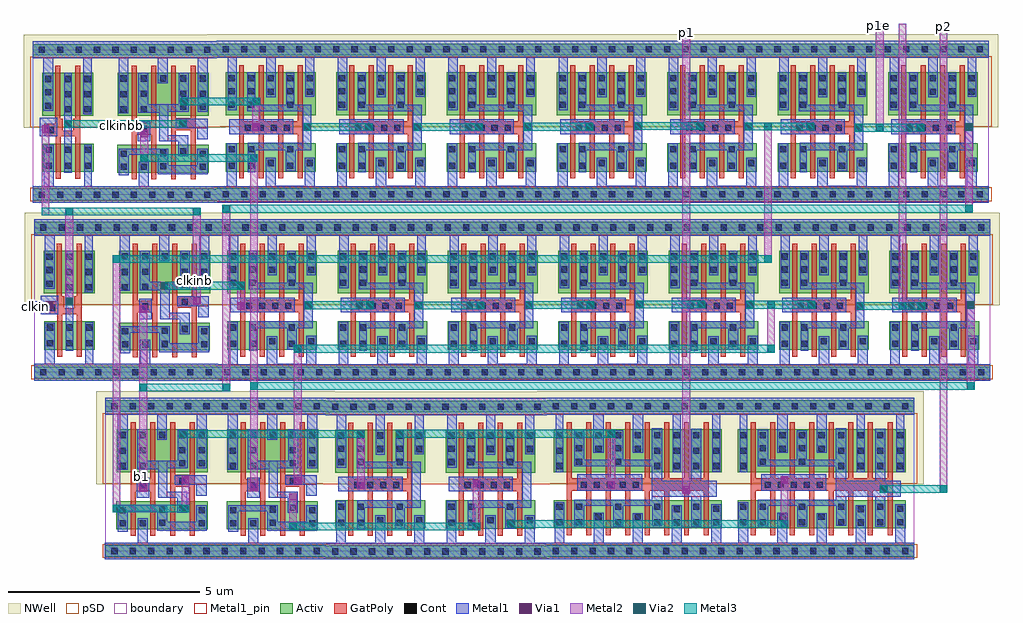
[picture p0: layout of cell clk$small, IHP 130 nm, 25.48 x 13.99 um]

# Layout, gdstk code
import gdstk
lib = gdstk.Library(unit=1e-6, precision=1e-09)
def R(c, l, rs):  # rectangles x0, y0, x1, y1
    for r in rs: c.add(gdstk.rectangle(r[:2], r[2:], *l))
def A(c, l, x, y, w, h, nx, ny, dx, dy):  # array of equal rectangles
    R(c, l, [(x+i*dx, y+j*dy, x+i*dx+w, y+j*dy+h) for i in range(nx) for j in range(ny)])
def P(c, l, *ps):  # polygons
    for p in ps: c.add(gdstk.Polygon(p, *l))
Activ = (1, 0)
GatPoly = (5, 0)
Cont = (6, 0)
Metal1 = (8, 0)
Metal1_pin = (8, 2)
Metal2 = (10, 0)
pSD = (14, 0)
Via1 = (19, 0)
Via2 = (29, 0)
Metal3 = (30, 0)
NWell = (31, 0)
boundary = (189, 4)

sg13g2_inv_2 = lib.new_cell('sg13g2_inv_2')
R(sg13g2_inv_2, Activ, [(0,-0.15,1.92,0.15), (0.265,0.59,1.59,1.33), (0.255,2.06,1.58,3.18), (0,3.63,1.92,3.93)])
P(sg13g2_inv_2, GatPoly, [(0.605,0.41),(0.605,1.52),(0.305,1.52),(0.305,1.85),(0.595,1.85),(0.595,3.36),(0.725,3.36),(0.725,1.985),(0.785,1.985),(0.785,1.67),(1.055,1.67),(1.055,1.985),(1.11,1.985),(1.11,3.36),(1.24,3.36),(1.24,1.585),(1.245,1.585),(1.245,0.41),(1.115,0.41),(1.115,1.52),(0.735,1.52),(0.735,0.41)])
A(sg13g2_inv_2, Cont, 0.84, 2.145, 0.16, 0.16, 1, 3, 0, 0.395)
A(sg13g2_inv_2, Cont, 1.35, 2.145, 0.16, 0.16, 1, 3, 0, 0.395)
R(sg13g2_inv_2, Cont, [(0.16,-0.08,0.32,0.08), (0.16,-0.08,0.32,0.08), (0.64,-0.08,0.8,0.08), (0.64,-0.08,0.8,0.08), (1.12,-0.08,1.28,0.08), (1.12,-0.08,1.28,0.08), (1.6,-0.08,1.76,0.08), (1.6,-0.08,1.76,0.08), (0.335,0.675,0.495,0.835), (0.845,0.675,1.005,0.835), (1.36,0.675,1.52,0.835), (0.335,1.09,0.495,1.25), (0.845,1.09,1.005,1.25), (1.36,1.09,1.52,1.25), (0.39,1.605,0.55,1.765), (0.325,2.235,0.485,2.395), (0.325,2.59,0.485,2.75), (0.325,2.935,0.485,3.095), (0.16,3.7,0.32,3.86), (0.16,3.7,0.32,3.86), (0.64,3.7,0.8,3.86), (0.64,3.7,0.8,3.86), (1.12,3.7,1.28,3.86), (1.12,3.7,1.28,3.86), (1.6,3.7,1.76,3.86), (1.6,3.7,1.76,3.86)])
R(sg13g2_inv_2, Metal1, [(0.825,0.57,1.02,3.18), (0.18,1.52,0.635,2)])
P(sg13g2_inv_2, Metal1, [(1.32,2.095),(1.32,3.56),(0.535,3.56),(0.535,2.185),(0.275,2.185),(0.275,3.56),(0,3.56),(0,4),(1.92,4),(1.92,3.56),(1.535,3.56),(1.535,2.095)],
  [(0,-0.22),(0,0.22),(0.285,0.22),(0.285,1.3),(0.545,1.3),(0.545,0.22),(1.34,0.22),(1.34,1.305),(1.54,1.305),(1.54,0.22),(1.92,0.22),(1.92,-0.22)])
R(sg13g2_inv_2, Metal1_pin, [(0,-0.22,1.92,0.22), (0.825,0.57,1.02,3.18), (0.18,1.52,0.635,2), (0,3.56,1.92,4)])
R(sg13g2_inv_2, pSD, [(-0.07,-0.18,1.99,0.18), (-0.07,1.76,1.99,3.6)])
R(sg13g2_inv_2, NWell, [(-0.24,1.75,2.16,4.17)])
R(sg13g2_inv_2, boundary, [(0,0,1.92,3.78)])
sg13g2_inv_2.add(gdstk.Label('VSS', (0.89,0), layer=8, texttype=25))
sg13g2_inv_2.add(gdstk.Label('VDD', (0.935,3.785), layer=8, texttype=25))
sg13g2_inv_2.add(gdstk.Label('Y', (0.925,1.855), layer=8, texttype=25))
sg13g2_inv_2.add(gdstk.Label('A', (0.415,1.75), layer=8, texttype=25))

sg13g2_nand2_2 = lib.new_cell('sg13g2_nand2_2')
R(sg13g2_nand2_2, Activ, [(0,-0.15,2.88,0.15), (0.285,0.575,2.67,1.295), (0.3,2.06,2.68,3.18), (0,3.63,2.88,3.93)])
P(sg13g2_nand2_2, GatPoly, [(0.66,0.395),(0.66,3.36),(0.79,3.36),(0.79,1.875),(1.17,1.875),(1.17,3.36),(1.3,3.36),(1.3,0.395),(1.17,0.395),(1.17,1.565),(0.79,1.565),(0.79,0.395)],
  [(1.69,0.395),(1.69,3.36),(1.82,3.36),(1.82,1.99),(2.2,1.99),(2.2,3.36),(2.33,3.36),(2.33,0.395),(2.2,0.395),(2.2,1.685),(1.82,1.685),(1.82,0.395)])
A(sg13g2_nand2_2, Cont, 1.6, -0.08, 0.16, 0.16, 3, 2, 0.48, 3.78)
A(sg13g2_nand2_2, Cont, 0.9, 2.15, 0.16, 0.16, 1, 3, 0, 0.4)
R(sg13g2_nand2_2, Cont, [(0.16,-0.08,0.32,0.08), (0.16,-0.08,0.32,0.08), (0.64,-0.08,0.8,0.08), (0.64,-0.08,0.8,0.08), (1.12,-0.08,1.28,0.08), (1.12,-0.08,1.28,0.08), (1.6,-0.08,1.76,0.08), (0.9,0.645,1.06,0.805), (0.38,0.65,0.54,0.81), (2.44,0.65,2.6,0.81), (1.41,0.66,1.57,0.82), (0.375,0.99,0.535,1.15), (2.44,0.99,2.6,1.15), (1.41,1.005,1.57,1.165), (1.93,1.05,2.09,1.21), (0.9,1.64,1.06,1.8), (1.93,1.76,2.09,1.92), (0.37,2.14,0.53,2.3), (1.93,2.21,2.09,2.37), (2.44,2.21,2.6,2.37), (0.37,2.54,0.53,2.7), (1.93,2.55,2.09,2.71), (2.44,2.55,2.6,2.71), (0.37,2.95,0.53,3.11), (1.41,2.95,1.57,3.11), (1.93,2.95,2.09,3.11), (2.44,2.95,2.6,3.11), (0.16,3.7,0.32,3.86), (0.16,3.7,0.32,3.86), (0.64,3.7,0.8,3.86), (0.64,3.7,0.8,3.86), (1.12,3.7,1.28,3.86), (1.12,3.7,1.28,3.86), (1.6,3.7,1.76,3.86)])
R(sg13g2_nand2_2, Metal1, [(0.82,1.39,1.15,1.92)])
P(sg13g2_nand2_2, Metal1, [(0.32,2.125),(0.32,3.56),(0,3.56),(0,4),(2.88,4),(2.88,3.56),(2.65,3.56),(2.65,2.16),(2.39,2.16),(2.39,3.56),(1.61,3.56),(1.61,2.9),(1.35,2.9),(1.35,3.56),(0.58,3.56),(0.58,2.125)],
  [(2.37,1.44),(2.37,1.73),(1.815,1.73),(1.815,1.98),(2.645,1.98),(2.645,1.44)],
  [(1.88,1),(1.88,1.39),(1.38,1.39),(1.38,2.14),(0.84,2.14),(0.84,3.18),(1.1,3.18),(1.1,2.36),(1.89,2.36),(1.89,3.18),(2.15,3.18),(2.15,2.16),(1.62,2.16),(1.62,1.55),(2.14,1.55),(2.14,1)],
  [(0.325,0.5),(0.325,1.2),(1.62,1.2),(1.62,0.76),(2.37,0.76),(2.37,1.2),(2.65,1.2),(2.65,0.53),(1.35,0.53),(1.35,1.035),(0.585,1.035),(0.585,0.5)],
  [(0,-0.22),(0,0.22),(0.85,0.22),(0.85,0.855),(1.11,0.855),(1.11,0.22),(2.88,0.22),(2.88,-0.22)])
R(sg13g2_nand2_2, Metal1_pin, [(0,-0.22,2.88,0.22), (0.82,1.39,1.15,1.92), (1.38,1.39,1.62,2.36), (1.815,1.73,2.645,1.98), (0,3.56,2.88,4)])
R(sg13g2_nand2_2, pSD, [(-0.07,-0.18,2.95,0.18), (-0.07,1.76,2.95,3.6)])
R(sg13g2_nand2_2, NWell, [(-0.24,1.75,3.12,4.17)])
R(sg13g2_nand2_2, boundary, [(0,0,2.88,3.78)])
sg13g2_nand2_2.add(gdstk.Label('Y', (1.48,2.105), layer=8, texttype=25))
sg13g2_nand2_2.add(gdstk.Label('VDD', (0.97,3.78), layer=8, texttype=25))
sg13g2_nand2_2.add(gdstk.Label('A', (2.01,1.84), layer=8, texttype=25))
sg13g2_nand2_2.add(gdstk.Label('VSS', (0.51,0), layer=8, texttype=25))
sg13g2_nand2_2.add(gdstk.Label('B', (0.98,1.655), layer=8, texttype=25))

sg13g2_inv_4 = lib.new_cell('sg13g2_inv_4')
R(sg13g2_inv_4, Activ, [(0,-0.15,2.88,0.15), (0.245,0.59,2.585,1.33), (0.245,2.06,2.585,3.18), (0,3.63,2.88,3.93)])
P(sg13g2_inv_4, GatPoly, [(0.585,0.41),(0.585,3.36),(0.715,3.36),(0.715,1.9),(1.095,1.9),(1.095,3.36),(1.225,3.36),(1.225,1.9),(1.605,1.9),(1.605,3.36),(1.735,3.36),(1.735,1.9),(2.115,1.9),(2.115,3.36),(2.245,3.36),(2.245,0.41),(2.115,0.41),(2.115,1.57),(1.735,1.57),(1.735,0.41),(1.605,0.41),(1.605,1.57),(1.225,1.57),(1.225,0.41),(1.095,0.41),(1.095,1.57),(0.715,1.57),(0.715,0.41)])
A(sg13g2_inv_4, Cont, 0.735, 1.655, 0.16, 0.16, 4, 1, 0.34, 0)
A(sg13g2_inv_4, Cont, 0.315, 2.945, 0.16, 0.16, 5, 1, 0.51, 0)
R(sg13g2_inv_4, Cont, [(0.16,-0.08,0.32,0.08), (0.16,-0.08,0.32,0.08), (0.64,-0.08,0.8,0.08), (0.64,-0.08,0.8,0.08), (1.12,-0.08,1.28,0.08), (1.12,-0.08,1.28,0.08), (1.6,-0.08,1.76,0.08), (1.6,-0.08,1.76,0.08), (2.08,-0.08,2.24,0.08), (2.08,-0.08,2.24,0.08), (2.56,-0.08,2.72,0.08), (2.56,-0.08,2.72,0.08), (0.315,0.665,0.475,0.825), (0.825,0.665,0.985,0.825), (1.845,0.665,2.005,0.825), (1.335,0.735,1.495,0.895), (2.355,0.735,2.515,0.895), (0.315,1.09,0.475,1.25), (0.825,1.09,0.985,1.25), (1.845,1.09,2.005,1.25), (0.315,2.255,0.475,2.415), (0.825,2.255,0.985,2.415), (1.845,2.255,2.005,2.415), (1.335,2.595,1.495,2.755), (2.355,2.595,2.515,2.755), (0.315,2.605,0.475,2.765), (0.825,2.605,0.985,2.765), (1.845,2.605,2.005,2.765), (0.16,3.7,0.32,3.86), (0.16,3.7,0.32,3.86), (0.64,3.7,0.8,3.86), (0.64,3.7,0.8,3.86), (1.12,3.7,1.28,3.86), (1.12,3.7,1.28,3.86), (1.6,3.7,1.76,3.86), (1.6,3.7,1.76,3.86), (2.08,3.7,2.24,3.86), (2.08,3.7,2.24,3.86), (2.56,3.7,2.72,3.86), (2.56,3.7,2.72,3.86)])
R(sg13g2_inv_4, Metal1, [(0.325,1.57,2,1.95)])
P(sg13g2_inv_4, Metal1, [(0.815,0.57),(0.815,1.34),(2.245,1.34),(2.245,2.17),(0.8,2.17),(0.8,3.18),(1.015,3.18),(1.015,2.34),(1.815,2.34),(1.815,3.175),(2.03,3.175),(2.03,2.34),(2.475,2.34),(2.475,1.145),(2.06,1.145),(2.06,0.595),(1.805,0.595),(1.805,1.145),(1.01,1.145),(1.01,0.57)],
  [(0.285,2.19),(0.285,3.56),(0,3.56),(0,4),(2.88,4),(2.88,3.56),(2.55,3.56),(2.55,2.54),(2.32,2.54),(2.32,3.56),(1.54,3.56),(1.54,2.53),(1.3,2.53),(1.3,3.56),(0.53,3.56),(0.53,2.19)],
  [(0,-0.21),(0,0.21),(0.27,0.21),(0.27,1.325),(0.52,1.325),(0.52,0.21),(1.28,0.21),(1.28,0.945),(1.55,0.945),(1.55,0.22),(2.305,0.22),(2.305,0.95),(2.565,0.95),(2.565,0.21),(2.88,0.21),(2.88,-0.21)])
R(sg13g2_inv_4, Metal1_pin, [(0,-0.21,2.88,0.21), (2.245,1.145,2.475,2.34), (0.325,1.57,2,1.95), (0,3.56,2.88,4)])
R(sg13g2_inv_4, pSD, [(-0.07,-0.18,2.95,0.18), (-0.07,1.76,2.95,3.6)])
R(sg13g2_inv_4, NWell, [(-0.24,1.75,3.12,4.17)])
R(sg13g2_inv_4, boundary, [(0,0,2.88,3.78)])
sg13g2_inv_4.add(gdstk.Label('A', (1.12,1.76), layer=8, texttype=25))
sg13g2_inv_4.add(gdstk.Label('VDD', (1.925,3.8), layer=8, texttype=25))
sg13g2_inv_4.add(gdstk.Label('Y', (2.36,1.755), layer=8, texttype=25))
sg13g2_inv_4.add(gdstk.Label('VSS', (1.405,0.005), layer=8, texttype=25))

sg13g2_inv_8 = lib.new_cell('sg13g2_inv_8')
R(sg13g2_inv_8, Activ, [(0,-0.15,4.8,0.15), (0.185,0.59,4.575,1.33), (0.185,2.06,4.575,3.18), (0,3.63,4.8,3.93)])
P(sg13g2_inv_8, GatPoly, [(0.525,0.41),(0.525,3.36),(0.655,3.36),(0.655,1.9),(1.035,1.9),(1.035,3.36),(1.165,3.36),(1.165,1.9),(1.545,1.9),(1.545,3.36),(1.675,3.36),(1.675,1.9),(2.055,1.9),(2.055,3.36),(2.185,3.36),(2.185,1.9),(2.565,1.9),(2.565,3.36),(2.695,3.36),(2.695,1.9),(3.075,1.9),(3.075,3.36),(3.205,3.36),(3.205,1.9),(3.585,1.9),(3.585,3.36),(3.715,3.36),(3.715,1.9),(4.105,1.9),(4.105,3.36),(4.235,3.36),(4.235,0.41),(4.105,0.41),(4.105,1.57),(3.715,1.57),(3.715,0.41),(3.585,0.41),(3.585,1.57),(3.205,1.57),(3.205,0.41),(3.075,0.41),(3.075,1.57),(2.695,1.57),(2.695,0.41),(2.565,0.41),(2.565,1.57),(2.185,1.57),(2.185,0.41),(2.055,0.41),(2.055,1.57),(1.675,1.57),(1.675,0.41),(1.545,0.41),(1.545,1.57),(1.165,1.57),(1.165,0.41),(1.035,0.41),(1.035,1.57),(0.655,1.57),(0.655,0.41)])
A(sg13g2_inv_8, Cont, 0.765, 1.08, 0.16, 0.16, 4, 1, 1.02, 0)
A(sg13g2_inv_8, Cont, 0.89, 1.655, 0.16, 0.16, 5, 1, 0.34, 0)
A(sg13g2_inv_8, Cont, 2.805, 2.14, 0.16, 0.16, 3, 2, 0.51, 0.4)
A(sg13g2_inv_8, Cont, 0.255, 2.945, 0.16, 0.16, 8, 1, 0.51, 0)
R(sg13g2_inv_8, Cont, [(0.16,-0.08,0.32,0.08), (0.16,-0.08,0.32,0.08), (0.64,-0.08,0.8,0.08), (0.64,-0.08,0.8,0.08), (1.12,-0.08,1.28,0.08), (1.12,-0.08,1.28,0.08), (1.6,-0.08,1.76,0.08), (1.6,-0.08,1.76,0.08), (2.08,-0.08,2.24,0.08), (2.08,-0.08,2.24,0.08), (2.56,-0.08,2.72,0.08), (2.56,-0.08,2.72,0.08), (3.04,-0.08,3.2,0.08), (3.04,-0.08,3.2,0.08), (3.52,-0.08,3.68,0.08), (3.52,-0.08,3.68,0.08), (4,-0.08,4.16,0.08), (4,-0.08,4.16,0.08), (4.48,-0.08,4.64,0.08), (4.48,-0.08,4.64,0.08), (3.315,0.665,3.475,0.825), (0.255,0.67,0.415,0.83), (0.765,0.67,0.925,0.83), (1.785,0.67,1.945,0.83), (3.825,0.67,3.985,0.83), (4.345,0.67,4.505,0.83), (2.805,0.675,2.965,0.835), (1.275,0.815,1.435,0.975), (2.295,0.815,2.455,0.975), (3.315,1.015,3.475,1.175), (4.345,1.025,4.505,1.185), (0.255,1.08,0.415,1.24), (0.255,2.14,0.415,2.3), (4.345,2.14,4.505,2.3), (0.765,2.255,0.925,2.415), (1.785,2.255,1.945,2.415), (0.255,2.54,0.415,2.7), (4.345,2.54,4.505,2.7), (1.275,2.595,1.435,2.755), (2.295,2.595,2.455,2.755), (0.765,2.605,0.925,2.765), (1.785,2.605,1.945,2.765), (4.345,2.945,4.505,3.105), (0.16,3.7,0.32,3.86), (0.16,3.7,0.32,3.86), (0.64,3.7,0.8,3.86), (0.64,3.7,0.8,3.86), (1.12,3.7,1.28,3.86), (1.12,3.7,1.28,3.86), (1.6,3.7,1.76,3.86), (1.6,3.7,1.76,3.86), (2.08,3.7,2.24,3.86), (2.08,3.7,2.24,3.86), (2.56,3.7,2.72,3.86), (2.56,3.7,2.72,3.86), (3.04,3.7,3.2,3.86), (3.04,3.7,3.2,3.86), (3.52,3.7,3.68,3.86), (3.52,3.7,3.68,3.86), (4,3.7,4.16,3.86), (4,3.7,4.16,3.86), (4.48,3.7,4.64,3.86), (4.48,3.7,4.64,3.86)])
R(sg13g2_inv_8, Metal1, [(0.805,1.57,2.495,2)])
P(sg13g2_inv_8, Metal1, [(0.715,0.62),(0.715,1.345),(2.74,1.345),(2.74,2.22),(0.715,2.22),(0.715,3.16),(0.98,3.16),(0.98,2.385),(1.73,2.385),(1.73,3.155),(1.995,3.155),(1.995,2.38),(2.74,2.38),(2.74,3.2),(3.015,3.2),(3.015,1.84),(3.775,1.84),(3.775,3.19),(4.035,3.19),(4.035,1.84),(4.44,1.84),(4.44,1.42),(4.035,1.42),(4.035,0.64),(3.775,0.64),(3.775,1.42),(3.015,1.42),(3.015,0.665),(2.755,0.665),(2.755,1.18),(2,1.18),(2,0.635),(1.735,0.635),(1.735,1.18),(0.98,1.18),(0.98,0.62)],
  [(0,-0.22),(0,0.22),(0.205,0.22),(0.205,1.27),(0.465,1.27),(0.465,0.22),(1.225,0.22),(1.225,1),(1.485,1),(1.485,0.22),(2.245,0.22),(2.245,0.99),(2.505,0.99),(2.505,0.22),(3.265,0.22),(3.265,1.195),(3.525,1.195),(3.525,0.22),(4.295,0.22),(4.295,1.225),(4.555,1.225),(4.555,0.22),(4.8,0.22),(4.8,-0.22)],
  [(3.29,2.055),(3.29,3.56),(2.515,3.56),(2.515,2.56),(2.245,2.56),(2.245,3.56),(1.495,3.56),(1.495,2.565),(1.215,2.565),(1.215,3.56),(0.435,3.56),(0.435,2.06),(0.24,2.06),(0.24,3.56),(0,3.56),(0,4),(4.8,4),(4.8,3.56),(4.53,3.56),(4.53,2.065),(4.32,2.065),(4.32,3.56),(3.5,3.56),(3.5,2.055)])
R(sg13g2_inv_8, Metal1_pin, [(0,-0.22,4.8,0.22), (2.74,1.42,4.44,1.84), (0.805,1.57,2.495,2), (0,3.56,4.8,4)])
R(sg13g2_inv_8, pSD, [(-0.07,-0.18,4.87,0.18), (-0.07,1.76,4.87,3.6)])
R(sg13g2_inv_8, NWell, [(-0.24,1.75,5.04,4.17)])
R(sg13g2_inv_8, boundary, [(0,0,4.8,3.78)])
sg13g2_inv_8.add(gdstk.Label('Y', (3.65,1.64), layer=8, texttype=25))
sg13g2_inv_8.add(gdstk.Label('A', (1.645,1.785), layer=8, texttype=25))
sg13g2_inv_8.add(gdstk.Label('VSS', (2.31,-0.02), layer=8, texttype=25))
sg13g2_inv_8.add(gdstk.Label('VDD', (2.71,3.78), layer=8, texttype=25))

clk_small = lib.new_cell('clk$small')
R(clk_small, Metal1, [(1.005,-9.79,22.14,-9.36), (1.02,-6.005,22.14,-5.575), (-0.84,-5.125,24.12,-4.695), (-0.84,-1.34,24.12,-0.91), (-0.875,-0.485,24.085,-0.055), (-0.875,3.3,24.085,3.73)])
P(clk_small, Metal1, [(-0.845,-3.26),(-0.845,-3.06),(-0.525,-3.06),(-0.525,-3.055),(-0.335,-3.055),(-0.335,-3.06),(-0.32,-3.06),(-0.32,-3.26)])
R(clk_small, Metal2, [(5.82,-9.035,6.02,-8.06), (10.61,-9.035,10.81,-7.715), (11.515,-8.965,11.715,-8.765), (18.65,-8.965,18.85,-7.625), (1.215,-8.565,1.415,-1.855), (3.01,-8.565,3.21,-7.61), (16.085,-8.075,16.285,4.03), (21.24,-8.055,21.44,-7.855), (22.795,-8.055,22.995,4.19), (1.91,-8.025,2.11,-3.16), (4.8,-7.995,5,0.785), (7.595,-7.955,7.795,-6.42), (14.135,-7.945,14.335,-6.415), (5.945,-7.835,6.145,-4.195), (2.945,-6.62,3.145,-6.42), (8.6,-6.615,8.8,-6.415), (4.075,-5.405,4.275,-0.54), (23.51,-5.365,23.71,-3.05), (18.3,-4.395,18.5,-3.045), (20.615,-3.285,20.815,-3.08), (22.22,-3.285,22.42,-3.08), (4.465,-3.28,4.665,-2.55), (21.725,-3.28,21.925,4.19), (10.705,-3.27,10.905,-3.065), (6.22,-3.265,6.42,-3.06), (7.825,-3.265,8.025,-3.06), (9.095,-3.265,9.295,-3.06), (13.58,-3.265,13.78,-3.06), (11.975,-3.26,12.175,-3.055), (17.745,-3.25,17.945,-3.045), (19.345,-3.25,19.545,-3.045), (16.475,-3.245,16.675,-3.04), (14.87,-3.24,15.07,-3.035), (-0.02,-3.165,0.18,-0.61), (3.305,-3.14,3.505,-0.61), (2.46,-2.75,2.66,-2.545), (18.22,-2.055,18.42,1.61), (-0.645,-0.81,-0.445,1.54), (23.465,-0.74,23.665,1.595), (1.935,0.585,2.135,1.425), (20.585,1.37,20.785,1.575), (22.19,1.37,22.39,1.575), (21.135,1.375,21.335,4.195), (6.19,1.39,6.39,1.595), (7.795,1.39,7.995,1.595), (9.065,1.39,9.265,1.595), (10.67,1.39,10.87,1.595), (4.86,1.395,5.06,2.26), (11.945,1.395,12.145,1.6), (13.55,1.395,13.75,1.6), (17.715,1.405,17.915,1.61), (19.32,1.405,19.52,1.61), (14.84,1.415,15.04,1.62), (16.445,1.42,16.645,1.625), (-0.05,1.47,0.15,1.67), (2.945,1.47,3.145,1.67), (2.98,2.055,3.18,2.26)])
R(clk_small, Via1, [(11.52,-8.96,11.71,-8.77), (5.825,-8.255,6.015,-8.065), (16.09,-8.065,16.28,-7.875), (21.245,-8.05,21.435,-7.86), (1.915,-8.015,2.105,-7.825), (4.805,-7.99,4.995,-7.8), (7.6,-7.95,7.79,-7.76), (14.14,-7.94,14.33,-7.75), (10.615,-7.91,10.805,-7.72), (5.95,-7.825,6.14,-7.635), (18.655,-7.82,18.845,-7.63), (3.015,-7.805,3.205,-7.615), (2.95,-6.615,3.14,-6.425), (8.605,-6.61,8.795,-6.42), (1.915,-3.355,2.105,-3.165), (20.62,-3.275,20.81,-3.085), (22.225,-3.275,22.415,-3.085), (4.47,-3.27,4.66,-3.08), (10.71,-3.26,10.9,-3.07), (6.225,-3.255,6.415,-3.065), (7.83,-3.255,8.02,-3.065), (9.1,-3.255,9.29,-3.065), (13.585,-3.255,13.775,-3.065), (11.98,-3.25,12.17,-3.06), (-0.525,-3.245,-0.335,-3.055), (17.75,-3.24,17.94,-3.05), (19.35,-3.24,19.54,-3.05), (16.48,-3.235,16.67,-3.045), (14.875,-3.23,15.065,-3.04), (3.31,-3.135,3.5,-2.945), (2.465,-2.745,2.655,-2.555), (1.94,1.23,2.13,1.42), (-0.64,1.345,-0.45,1.535), (20.59,1.38,20.78,1.57), (22.195,1.38,22.385,1.57), (6.195,1.4,6.385,1.59), (7.8,1.4,7.99,1.59), (9.07,1.4,9.26,1.59), (10.675,1.4,10.865,1.59), (4.865,1.405,5.055,1.595), (11.95,1.405,12.14,1.595), (13.555,1.405,13.745,1.595), (17.72,1.415,17.91,1.605), (19.325,1.415,19.515,1.605), (14.845,1.425,15.035,1.615), (16.45,1.43,16.64,1.62), (-0.045,1.475,0.145,1.665), (2.95,1.475,3.14,1.665), (2.985,2.065,3.175,2.255)])
R(clk_small, Via2, [(5.825,-9.03,6.015,-8.84), (10.615,-9.03,10.805,-8.84), (11.52,-8.96,11.71,-8.77), (18.655,-8.96,18.845,-8.77), (1.22,-8.56,1.41,-8.37), (3.015,-8.56,3.205,-8.37), (21.245,-8.05,21.435,-7.86), (22.8,-8.05,22.99,-7.86), (2.95,-6.615,3.14,-6.425), (2.95,-6.615,3.14,-6.425), (7.6,-6.615,7.79,-6.425), (8.605,-6.61,8.795,-6.42), (14.14,-6.61,14.33,-6.42), (1.915,-5.4,2.105,-5.21), (4.08,-5.4,4.27,-5.21), (4.81,-5.36,5,-5.17), (23.515,-5.36,23.705,-5.17), (5.95,-4.39,6.14,-4.2), (18.305,-4.39,18.495,-4.2), (20.62,-3.275,20.81,-3.085), (21.73,-3.275,21.92,-3.085), (22.225,-3.275,22.415,-3.085), (10.71,-3.26,10.9,-3.07), (6.225,-3.255,6.415,-3.065), (7.83,-3.255,8.02,-3.065), (9.1,-3.255,9.29,-3.065), (13.585,-3.255,13.775,-3.065), (11.98,-3.25,12.17,-3.06), (23.515,-3.245,23.705,-3.055), (17.75,-3.24,17.94,-3.05), (18.305,-3.24,18.495,-3.05), (19.35,-3.24,19.54,-3.05), (16.48,-3.235,16.67,-3.045), (14.875,-3.23,15.065,-3.04), (-0.015,-3.155,0.175,-2.965), (2.465,-2.745,2.655,-2.555), (4.47,-2.745,4.66,-2.555), (1.22,-2.05,1.41,-1.86), (18.225,-2.05,18.415,-1.86), (-0.015,-0.805,0.175,-0.615), (3.31,-0.805,3.5,-0.615), (4.08,-0.735,4.27,-0.545), (23.47,-0.735,23.66,-0.545), (1.94,0.59,2.13,0.78), (4.805,0.59,4.995,0.78), (20.59,1.38,20.78,1.57), (21.14,1.38,21.33,1.57), (22.195,1.38,22.385,1.57), (6.195,1.4,6.385,1.59), (7.8,1.4,7.99,1.59), (9.07,1.4,9.26,1.59), (10.675,1.4,10.865,1.59), (23.47,1.4,23.66,1.59), (11.95,1.405,12.14,1.595), (13.555,1.405,13.745,1.595), (17.72,1.415,17.91,1.605), (18.225,1.415,18.415,1.605), (19.325,1.415,19.515,1.605), (14.845,1.425,15.035,1.615), (16.45,1.43,16.64,1.62), (-0.045,1.475,0.145,1.665), (2.95,1.475,3.14,1.665), (2.985,2.065,3.175,2.255), (4.865,2.065,5.055,2.255)])
R(clk_small, Metal3, [(5.82,-9.035,10.81,-8.835), (11.515,-8.965,18.85,-8.765), (1.215,-8.565,3.21,-8.365), (21.24,-8.055,22.995,-7.855), (2.945,-6.62,7.795,-6.42), (8.6,-6.615,14.335,-6.415), (1.91,-5.405,4.275,-5.205), (4.8,-5.365,23.71,-5.165), (5.945,-4.395,18.5,-4.195), (20.615,-3.28,22.42,-3.08), (9.095,-3.265,10.905,-3.065), (6.22,-3.26,8.025,-3.06), (11.98,-3.255,13.785,-3.055), (17.745,-3.245,19.55,-3.045), (14.87,-3.24,16.675,-3.04), (2.58,-2.75,4.665,-2.55), (1.215,-2.055,18.42,-1.855), (-0.645,-0.81,0.18,-0.61), (-0.02,-0.81,3.505,-0.61), (4.075,-0.74,23.665,-0.54), (1.935,0.585,5,0.785), (20.58,1.375,22.39,1.575), (6.19,1.395,8,1.595), (9.065,1.395,10.87,1.595), (11.945,1.4,13.75,1.6), (17.715,1.41,19.52,1.61), (14.84,1.42,16.645,1.62), (-0.05,1.47,3.145,1.67), (2.98,2.06,5.06,2.26)])
clk_small.add(gdstk.Reference(sg13g2_inv_2, (-0.875,-0.27)))
clk_small.add(gdstk.Reference(sg13g2_inv_2, (-0.84,-4.91)))
clk_small.add(gdstk.Reference(sg13g2_nand2_2, (1.045,-0.27)))
clk_small.add(gdstk.Reference(sg13g2_nand2_2, (1.02,-9.575)))
clk_small.add(gdstk.Reference(sg13g2_nand2_2, (3.9,-9.575)))
clk_small.add(gdstk.Reference(sg13g2_inv_4, (6.805,-0.26)))
clk_small.add(gdstk.Reference(sg13g2_inv_4, (15.445,-0.26)))
clk_small.add(gdstk.Reference(sg13g2_inv_4, (18.325,-0.26)))
clk_small.add(gdstk.Reference(sg13g2_inv_4, (3.96,-4.91)))
clk_small.add(gdstk.Reference(sg13g2_inv_4, (9.72,-4.91)))
clk_small.add(gdstk.Reference(sg13g2_inv_4, (12.6,-4.91)))
clk_small.add(gdstk.Reference(sg13g2_inv_4, (15.48,-4.91)))
clk_small.add(gdstk.Reference(sg13g2_inv_4, (18.36,-4.91)))
clk_small.add(gdstk.Reference(sg13g2_inv_4, (21.24,-4.91)))
clk_small.add(gdstk.Reference(sg13g2_inv_4, (6.78,-9.585)))
clk_small.add(gdstk.Reference(sg13g2_inv_4, (9.66,-9.585)))
clk_small.add(gdstk.Reference(sg13g2_inv_8, (12.54,-9.575)))
clk_small.add(gdstk.Reference(sg13g2_inv_4, (3.925,-0.26)))
clk_small.add(gdstk.Reference(sg13g2_nand2_2, (1.08,-4.91)))
clk_small.add(gdstk.Reference(sg13g2_inv_4, (6.84,-4.91)))
clk_small.add(gdstk.Reference(sg13g2_inv_4, (9.685,-0.26)))
clk_small.add(gdstk.Reference(sg13g2_inv_4, (12.565,-0.26)))
clk_small.add(gdstk.Reference(sg13g2_inv_8, (17.34,-9.575)))
clk_small.add(gdstk.Reference(sg13g2_inv_4, (21.205,-0.26)))
clk_small.add(gdstk.Label('clkin', (-0.81,-3.185), layer=8, texttype=25))
clk_small.add(gdstk.Label('clkinbb', (1.43,1.545), layer=30, texttype=25))
clk_small.add(gdstk.Label('clkinb', (3.34,-2.505), layer=10, texttype=25))
clk_small.add(gdstk.Label('b1', (1.975,-7.625), layer=10, texttype=25))
clk_small.add(gdstk.Label('p1e', (21.205,4.135), layer=10, texttype=25))
clk_small.add(gdstk.Label('p2e', (21.79,4.085), layer=10, texttype=25))
clk_small.add(gdstk.Label('p1', (16.18,3.97), layer=10, texttype=25))
clk_small.add(gdstk.Label('p2', (22.895,4.11), layer=10, texttype=25))

lib.write_gds('clk_small.gds')
